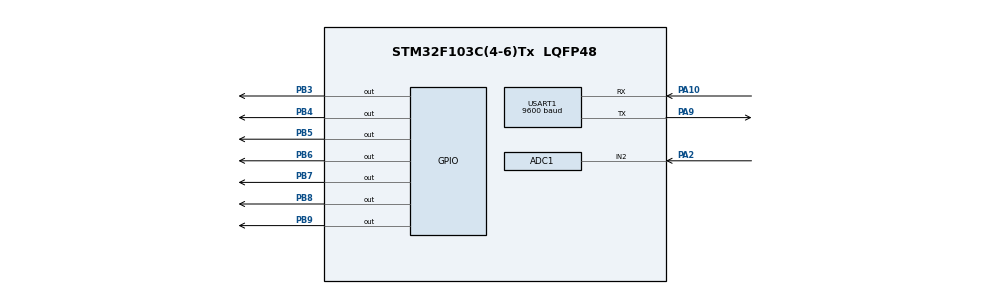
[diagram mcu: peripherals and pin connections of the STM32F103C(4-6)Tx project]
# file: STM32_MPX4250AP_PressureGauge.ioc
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ADC1.Channel-0\#ChannelRegularConversion=ADC_CHANNEL_2
ADC1.NbrOfConversionFlag=1
ADC1.Rank-0\#ChannelRegularConversion=1
ADC1.SamplingTime-0\#ChannelRegularConversion=ADC_SAMPLETIME_1CYCLE_5
ADC1.master=1
Mcu.Family=STM32F1
Mcu.Name=STM32F103C(4-6)Tx
Mcu.Package=LQFP48
NVIC.PriorityGroup=NVIC_PRIORITYGROUP_4
PA10.Mode=Asynchronous
PA10.Signal=USART1_RX
PA2.Signal=ADCx_IN2
PA9.Mode=Asynchronous
PA9.Signal=USART1_TX
PB3.Signal=GPIO_Output
PB4.Signal=GPIO_Output
PB5.Signal=GPIO_Output
PB6.Signal=GPIO_Output
PB7.Signal=GPIO_Output
PB8.Signal=GPIO_Output
PB9.Signal=GPIO_Output
ProjectManager.HeapSize=0x200
ProjectManager.StackSize=0x400
ProjectManager.TargetToolchain=STM32CubeIDE
RCC.APB1Freq_Value=8000000
RCC.APB2Freq_Value=8000000
SH.ADCx_IN2.0=ADC1_IN2,IN2
USART1.BaudRate=9600
USART1.VirtualMode=VM_ASYNC
VP_SYS_VS_ND.Mode=No_Debug
board=custom

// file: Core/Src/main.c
/* USER CODE BEGIN Header */
/**
  ******************************************************************************
  * @file           : main.c
  * @brief          : Main program body
  ******************************************************************************
  * @attention
  *
  * Copyright (c) 2024 STMicroelectronics.
  * All rights reserved.
  *
  * This software is licensed under terms that can be found in the LICENSE file
  * in the root directory of this software component.
  * If no LICENSE file comes with this software, it is provided AS-IS.
  *
  ******************************************************************************
  */
/* USER CODE END Header */
#include "main.h"

/* USER CODE BEGIN Includes */
#include "LiquidCrystal.h"
#include "stdio.h"
#include "math.h"
/* USER CODE END Includes */

/* USER CODE BEGIN PD */
/* Calibration Parameters */
#define ADC_RESOLITON 4095 // 12-bit ADC Resolution (2^12-1)=4095
#define ADC_VOLTAGE_RANGE 5.0f //Voltage range of ADC in Volts (proteus simultion)
#define PRESSURE_MIN 0.0 // Minimun presure in kPa
#define VOLTAGE_MIN 0.26 //Corresonding minimum Voltafe in V
#define PRESSURE_MAX 250.0f //Maximum pressure in KPA
#define VOLTAGE_MAX 4.87  //Corresonding maximum Voltafe in V

/*UATY Message String*/
#define MSG_OK "Operation successul.\n\r"
#define MSG_NOT_OK "Operation failed.\n\r"

/* UART Message Strings */

/* USER CODE END PD */

ADC_HandleTypeDef hadc1;

UART_HandleTypeDef huart1;

/* USER CODE BEGIN PV */
char uartMsg[50]; //UART message buffer
/* USER CODE END PV */

void SystemClock_Config(void);
static void MX_GPIO_Init(void);
static void MX_ADC1_Init(void);
static void MX_USART1_UART_Init(void);

int main(void)
{

  /* USER CODE BEGIN 1 */

  float sensitivity = (PRESSURE_MAX-VOLTAGE_MIN)/(VOLTAGE_MAX-VOLTAGE_MIN);
  float offset      = VOLTAGE_MIN -(sensitivity*VOLTAGE_MIN);
  float resoluyion  = ADC_VOLTAGE_RANGE/ADC_RESOLITON;

  /* USER CODE END 1 */

  /* MCU Configuration--------------------------------------------------------*/

  /* Reset of all peripherals, Initializes the Flash interface and the Systick. */
  HAL_Init();

  /* Configure the system clock */
  SystemClock_Config();

  /* Initialize all configured peripherals */
  MX_GPIO_Init();
  MX_ADC1_Init();
  MX_USART1_UART_Init();
  /* USER CODE BEGIN 2 */
  LiquidCrystal(GPIOB, GPIO_PIN_3,GPIO_PIN_4,GPIO_PIN_5,GPIO_PIN_6,GPIO_PIN_7,GPIO_PIN_8,GPIO_PIN_9);
  begin(20,4); // lcd 20*4
  /* USER CODE END 2 */

  /* Infinite loop */
  while (1)
  {

    /* USER CODE BEGIN 3 */
    HAL_ADC_Start(&hadc1);

    if(HAL_ADC_PollForConversion(&hadc1, 1000)!=HAL_OK)
      HAL_UART_Transmit(&huart1, (uint8_t*)MSG_NOT_OK, sizeof(MSG_NOT_OK), 100);
    else
    {
      HAL_UART_Transmit(&huart1,(uint8_t*) MSG_OK, sizeof(MSG_OK), 100);
      //Read the ADC value
      int adc_value = HAL_ADC_GetValue(&hadc1);

      //convert ADC value to pressute unsig calibration parametres
        float pressure_KPa = (adc_value*resoluyion*sensitivity)+offset;
        float pressure_mbar =pressure_KPa*10;
         setCursor(0, 0);
         print("Pressure Value=");
         setCursor(0, 1);
         sprintf(uartMsg, "%.1f", pressure_KPa);
         print(uartMsg);
         setCursor(7, 1);
         print("kPa");
         setCursor(0, 2);
         sprintf(uartMsg, "%.1f", pressure_mbar);
         print(uartMsg);
         setCursor(7, 2);
         print("Mbar");
         HAL_Delay(1000);
         clear();
    }
    HAL_ADC_Stop(&hadc1);

  }
  /* USER CODE END 3 */
}

void SystemClock_Config(void)
{
  RCC_OscInitTypeDef RCC_OscInitStruct = {0};
  RCC_ClkInitTypeDef RCC_ClkInitStruct = {0};
  RCC_PeriphCLKInitTypeDef PeriphClkInit = {0};

  /** Initializes the RCC Oscillators according to the specified parameters
  * in the RCC_OscInitTypeDef structure.
  */
  RCC_OscInitStruct.OscillatorType = RCC_OSCILLATORTYPE_HSI;
  RCC_OscInitStruct.HSIState = RCC_HSI_ON;
  RCC_OscInitStruct.HSICalibrationValue = RCC_HSICALIBRATION_DEFAULT;
  RCC_OscInitStruct.PLL.PLLState = RCC_PLL_NONE;
  if (HAL_RCC_OscConfig(&RCC_OscInitStruct) != HAL_OK)
  {
    Error_Handler();
  }

  /** Initializes the CPU, AHB and APB buses clocks
  */
  RCC_ClkInitStruct.ClockType = RCC_CLOCKTYPE_HCLK|RCC_CLOCKTYPE_SYSCLK
                              |RCC_CLOCKTYPE_PCLK1|RCC_CLOCKTYPE_PCLK2;
  RCC_ClkInitStruct.SYSCLKSource = RCC_SYSCLKSOURCE_HSI;
  RCC_ClkInitStruct.AHBCLKDivider = RCC_SYSCLK_DIV1;
  RCC_ClkInitStruct.APB1CLKDivider = RCC_HCLK_DIV1;
  RCC_ClkInitStruct.APB2CLKDivider = RCC_HCLK_DIV1;

  if (HAL_RCC_ClockConfig(&RCC_ClkInitStruct, FLASH_LATENCY_0) != HAL_OK)
  {
    Error_Handler();
  }
  PeriphClkInit.PeriphClockSelection = RCC_PERIPHCLK_ADC;
  PeriphClkInit.AdcClockSelection = RCC_ADCPCLK2_DIV2;
  if (HAL_RCCEx_PeriphCLKConfig(&PeriphClkInit) != HAL_OK)
  {
    Error_Handler();
  }
}

static void MX_ADC1_Init(void)
{

  ADC_ChannelConfTypeDef sConfig = {0};

  /** Common config
  */
  hadc1.Instance = ADC1;
  hadc1.Init.ScanConvMode = ADC_SCAN_DISABLE;
  hadc1.Init.ContinuousConvMode = DISABLE;
  hadc1.Init.DiscontinuousConvMode = DISABLE;
  hadc1.Init.ExternalTrigConv = ADC_SOFTWARE_START;
  hadc1.Init.DataAlign = ADC_DATAALIGN_RIGHT;
  hadc1.Init.NbrOfConversion = 1;
  if (HAL_ADC_Init(&hadc1) != HAL_OK)
  {
    Error_Handler();
  }

  /** Configure Regular Channel
  */
  sConfig.Channel = ADC_CHANNEL_2;
  sConfig.Rank = ADC_REGULAR_RANK_1;
  sConfig.SamplingTime = ADC_SAMPLETIME_1CYCLE_5;
  if (HAL_ADC_ConfigChannel(&hadc1, &sConfig) != HAL_OK)
  {
    Error_Handler();
  }

}

static void MX_USART1_UART_Init(void)
{

  huart1.Instance = USART1;
  huart1.Init.BaudRate = 9600;
  huart1.Init.WordLength = UART_WORDLENGTH_8B;
  huart1.Init.StopBits = UART_STOPBITS_1;
  huart1.Init.Parity = UART_PARITY_NONE;
  huart1.Init.Mode = UART_MODE_TX_RX;
  huart1.Init.HwFlowCtl = UART_HWCONTROL_NONE;
  huart1.Init.OverSampling = UART_OVERSAMPLING_16;
  if (HAL_UART_Init(&huart1) != HAL_OK)
  {
    Error_Handler();
  }

}

static void MX_GPIO_Init(void)
{
  GPIO_InitTypeDef GPIO_InitStruct = {0};

  /* GPIO Ports Clock Enable */
  __HAL_RCC_GPIOA_CLK_ENABLE();
  __HAL_RCC_GPIOB_CLK_ENABLE();

  /*Configure GPIO pin Output Level */
  HAL_GPIO_WritePin(GPIOB, GPIO_PIN_3|GPIO_PIN_4|GPIO_PIN_5|GPIO_PIN_6
                          |GPIO_PIN_7|GPIO_PIN_8|GPIO_PIN_9, GPIO_PIN_RESET);

  /*Configure GPIO pins : PB3 PB4 PB5 PB6
                           PB7 PB8 PB9 */
  GPIO_InitStruct.Pin = GPIO_PIN_3|GPIO_PIN_4|GPIO_PIN_5|GPIO_PIN_6
                          |GPIO_PIN_7|GPIO_PIN_8|GPIO_PIN_9;
  GPIO_InitStruct.Mode = GPIO_MODE_OUTPUT_PP;
  GPIO_InitStruct.Pull = GPIO_NOPULL;
  GPIO_InitStruct.Speed = GPIO_SPEED_FREQ_LOW;
  HAL_GPIO_Init(GPIOB, &GPIO_InitStruct);

}

void Error_Handler(void)
{
  __disable_irq();
  while (1)
  {
  }
}
